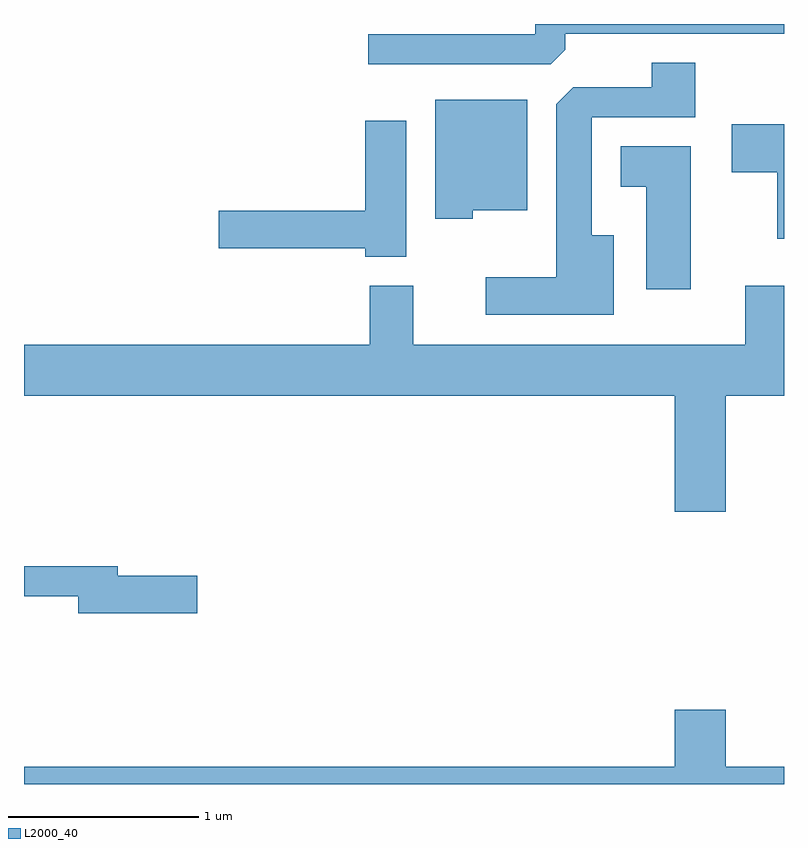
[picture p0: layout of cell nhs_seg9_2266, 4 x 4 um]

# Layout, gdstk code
import gdstk
lib = gdstk.Library(unit=1e-6, precision=1e-09)
def P(c, l, *ps):  # polygons
    for p in ps: c.add(gdstk.Polygon(p, *l))
L2000_40 = (2000, 40)

nhs_seg9_2266 = lib.new_cell('nhs_seg9_2266')
P(nhs_seg9_2266, L2000_40, [(254.459,2000.297),(254.459,2000.381),(255.611,2000.381),(255.611,2000.432),(254.301,2000.432),(254.301,2000.379),(253.423,2000.379),(253.423,2000.221),(254.384,2000.221)],
  [(254.714,1999.319),(254.599,1999.319),(254.599,1999.941),(255.144,1999.941),(255.144,2000.229),(254.916,2000.229),(254.916,2000.099),(254.502,2000.099),(254.411,2000.009),(254.411,1999.099),(254.041,1999.099),(254.041,1998.901),(254.714,1998.901)],
  [(253.974,1999.451),(254.259,1999.451),(254.259,2000.034),(253.776,2000.034),(253.776,1999.406),(253.974,1999.406)],
  [(253.624,1999.924),(253.406,1999.924),(253.406,1999.449),(252.636,1999.449),(252.636,1999.251),(253.406,1999.251),(253.406,1999.206),(253.624,1999.206)],
  [(255.611,1999.904),(255.336,1999.904),(255.336,1999.651),(255.576,1999.651),(255.576,1999.301),(255.611,1999.301)],
  [(255.119,1999.789),(254.751,1999.789),(254.751,1999.576),(254.886,1999.576),(254.886,1999.036),(255.119,1999.036)],
  [(255.304,1998.476),(255.611,1998.476),(255.611,1999.054),(255.406,1999.054),(255.406,1998.744),(253.659,1998.744),(253.659,1999.054),(253.431,1999.054),(253.431,1998.744),(251.611,1998.744),(251.611,1998.476),(255.036,1998.476),(255.036,1997.866),(255.304,1997.866)],
  [(252.524,1997.529),(252.104,1997.529),(252.104,1997.579),(251.611,1997.579),(251.611,1997.421),(251.896,1997.421),(251.896,1997.331),(252.524,1997.331)],
  [(255.611,1996.524),(255.304,1996.524),(255.304,1996.824),(255.036,1996.824),(255.036,1996.524),(251.611,1996.524),(251.611,1996.432),(255.611,1996.432)])

lib.write_gds('nhs_seg9_2266.gds')
